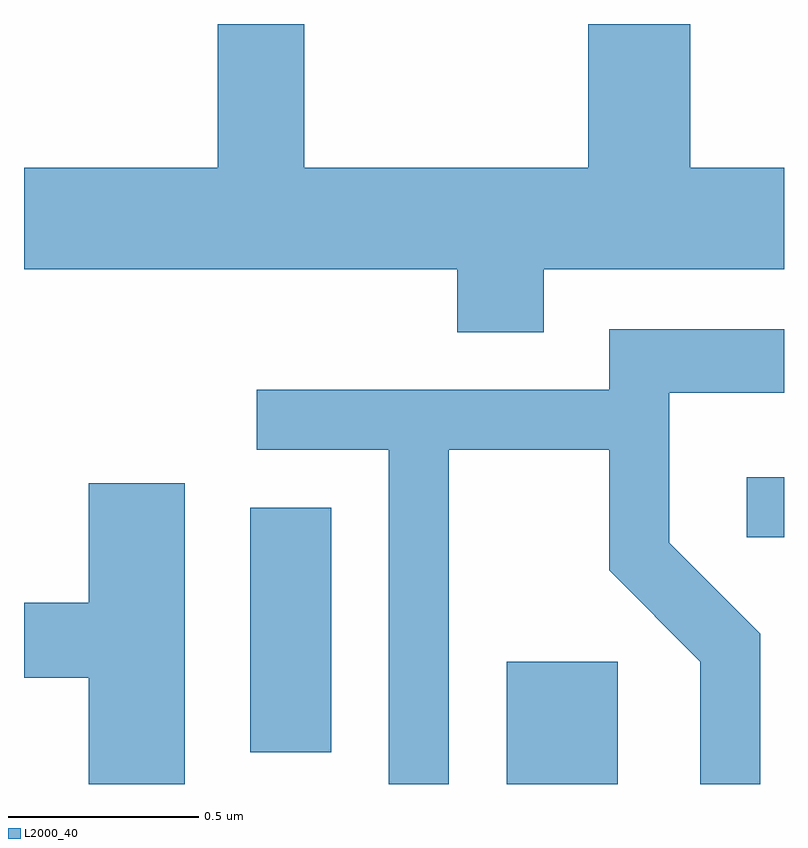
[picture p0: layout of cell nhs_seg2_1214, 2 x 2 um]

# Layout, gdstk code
import gdstk
lib = gdstk.Library(unit=1e-6, precision=1e-09)
def R(c, l, rs):  # rectangles x0, y0, x1, y1
    for r in rs: c.add(gdstk.rectangle(r[:2], r[2:], *l))
def P(c, l, *ps):  # polygons
    for p in ps: c.add(gdstk.Polygon(p, *l))
L2000_40 = (2000, 40)

nhs_seg2_1214 = lib.new_cell('nhs_seg2_1214')
R(nhs_seg2_1214, L2000_40, [(194.881,1095.802,195.174,1096.124), (194.206,1095.886,194.419,1096.529), (195.513,1096.451,195.611,1096.609)])
P(nhs_seg2_1214, L2000_40, [(194.979,1097.156),(195.611,1097.156),(195.611,1097.424),(195.364,1097.424),(195.364,1097.802),(195.096,1097.802),(195.096,1097.424),(194.349,1097.424),(194.349,1097.802),(194.121,1097.802),(194.121,1097.424),(193.611,1097.424),(193.611,1097.156),(194.751,1097.156),(194.751,1096.991),(194.979,1096.991)],
  [(194.729,1096.681),(195.151,1096.681),(195.151,1096.364),(195.391,1096.124),(195.391,1095.802),(195.549,1095.802),(195.549,1096.197),(195.309,1096.437),(195.309,1096.831),(195.611,1096.831),(195.611,1096.999),(195.151,1096.999),(195.151,1096.839),(194.223,1096.839),(194.223,1096.681),(194.571,1096.681),(194.571,1095.802),(194.729,1095.802)],
  [(194.034,1096.594),(193.781,1096.594),(193.781,1096.279),(193.611,1096.279),(193.611,1096.081),(193.781,1096.081),(193.781,1095.802),(194.034,1095.802)])

lib.write_gds('nhs_seg2_1214.gds')
